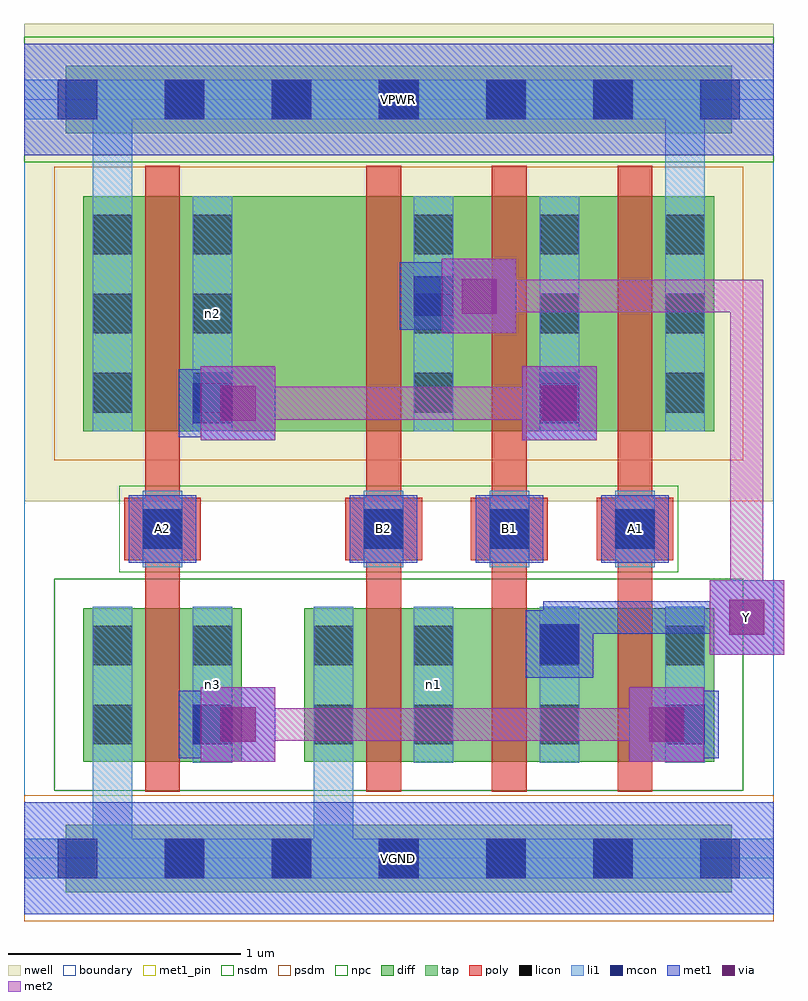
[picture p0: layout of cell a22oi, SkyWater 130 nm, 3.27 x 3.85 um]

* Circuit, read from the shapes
.subckt a22oi A1 A2 B1 B2 VGND VPWR Y n1 n2 n3
XM1 n3 A2 VGND VGND sky130_fd_pr__nfet_01v8 w=0.66 l=0.15
XM2 n1 B2 VGND VGND sky130_fd_pr__nfet_01v8 w=0.66 l=0.15
XM3 Y B1 n1 VGND sky130_fd_pr__nfet_01v8 w=0.66 l=0.15
XM4 n3 A1 Y VGND sky130_fd_pr__nfet_01v8 w=0.66 l=0.15
XM5 n2 A2 VPWR VPWR sky130_fd_pr__pfet_01v8 w=1.01 l=0.15
XM6 Y B2 n2 VPWR sky130_fd_pr__pfet_01v8 w=1.01 l=0.15
XM7 n2 B1 Y VPWR sky130_fd_pr__pfet_01v8 w=1.01 l=0.15
XM8 VPWR A1 n2 VPWR sky130_fd_pr__pfet_01v8 w=1.01 l=0.15
.ends

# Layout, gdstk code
import gdstk
lib = gdstk.Library(unit=1e-6, precision=1e-09)
def R(c, l, rs):  # rectangles x0, y0, x1, y1
    for r in rs: c.add(gdstk.rectangle(r[:2], r[2:], *l))
def A(c, l, x, y, w, h, nx, ny, dx, dy):  # array of equal rectangles
    R(c, l, [(x+i*dx, y+j*dy, x+i*dx+w, y+j*dy+h) for i in range(nx) for j in range(ny)])
nwell = (64, 20)
diff = (65, 20)
tap = (65, 44)
poly = (66, 20)
licon = (66, 44)
li1 = (67, 20)
mcon = (67, 44)
met1_pin = (68, 16)
met1 = (68, 20)
via = (68, 44)
met2 = (69, 20)
nsdm = (93, 44)
psdm = (94, 20)
npc = (95, 20)
boundary = (235, 4)

a22oi = lib.new_cell('a22oi')
R(a22oi, nwell, [(0,1.535,3.22,3.585)])
R(a22oi, diff, [(0.255,0.415,0.935,1.075), (1.205,0.415,2.965,1.075), (0.255,1.835,2.965,2.845)])
R(a22oi, tap, [(0.18,-0.145,3.04,0.145), (0.18,3.115,3.04,3.405)])
A(a22oi, poly, 1.47, 0.285, 0.15, 2.69, 3, 1, 0.54, 0)
A(a22oi, poly, 1.38, 1.28, 0.33, 0.27, 3, 1, 0.54, 0)
R(a22oi, poly, [(0.52,0.285,0.67,2.975), (0.43,1.28,0.76,1.55)])
A(a22oi, licon, 0.605, -0.085, 0.17, 0.17, 5, 2, 0.46, 3.26)
A(a22oi, licon, 1.675, 0.49, 0.17, 0.17, 3, 2, 0.54, 0.34)
A(a22oi, licon, 1.46, 1.33, 0.17, 0.17, 3, 1, 0.54, 0)
A(a22oi, licon, 0.295, 1.915, 0.17, 0.17, 1, 3, 0, 0.34)
A(a22oi, licon, 0.725, 1.915, 0.17, 0.17, 1, 3, 0, 0.34)
A(a22oi, licon, 1.675, 1.915, 0.17, 0.17, 3, 3, 0.54, 0.34)
R(a22oi, licon, [(0.295,0.49,0.465,0.66), (0.725,0.49,0.895,0.66), (1.245,0.49,1.415,0.66), (0.295,0.83,0.465,1), (0.725,0.83,0.895,1), (1.245,0.83,1.415,1), (0.51,1.33,0.68,1.5)])
A(a22oi, li1, 1.675, 0.41, 0.17, 0.67, 3, 1, 0.54, 0)
A(a22oi, li1, 1.46, 1.25, 0.17, 0.33, 3, 1, 0.54, 0)
A(a22oi, li1, 1.675, 1.835, 0.17, 1.01, 3, 1, 0.54, 0)
R(a22oi, li1, [(0,-0.085,3.22,0.085), (0.295,-0.085,0.465,1.08), (1.245,-0.085,1.415,1.08), (0.295,0.41,0.465,1.08), (0.725,0.41,0.895,1.08), (1.245,0.41,1.415,1.08), (0.51,1.25,0.68,1.58), (0.295,1.835,0.465,2.845), (0.295,1.835,0.465,3.345), (0.725,1.835,0.895,2.845), (2.755,1.835,2.925,3.345), (0,3.175,3.22,3.345)])
A(a22oi, mcon, 0.145, -0.085, 0.17, 0.17, 7, 2, 0.46, 3.26)
A(a22oi, mcon, 1.46, 1.33, 0.17, 0.17, 3, 1, 0.54, 0)
R(a22oi, mcon, [(0.725,0.49,0.895,0.66), (2.755,0.49,2.925,0.66), (2.215,0.835,2.385,1.005), (0.51,1.33,0.68,1.5), (0.725,1.87,0.895,2.04), (2.215,1.87,2.385,2.04), (1.675,2.33,1.845,2.5)])
A(a22oi, met1_pin, 1.4, 1.27, 0.29, 0.29, 3, 1, 0.54, 0)
R(a22oi, met1_pin, [(0,-0.24,3.22,0.24), (2.945,0.875,3.265,1.195), (0.45,1.27,0.74,1.56), (0,3.02,3.22,3.5)])
A(a22oi, met1, 1.4, 1.27, 0.29, 0.29, 3, 1, 0.54, 0)
R(a22oi, met1, [(0,-0.24,3.22,0.24), (0.76,0.415,1.08,0.735), (2.6,0.415,2.92,0.735), (0.665,0.43,0.955,0.72), (2.695,0.43,2.985,0.72), (0.74,0.505,0.99,0.645), (2.69,0.505,2.91,0.645), (2.155,0.775,2.445,1.065), (2.23,0.85,2.37,1.105), (2.945,0.875,3.265,1.195), (2.23,0.965,3.175,1.105), (0.45,1.27,0.74,1.56), (0.76,1.795,1.08,2.115), (2.14,1.795,2.46,2.115), (0.665,1.81,0.955,2.1), (2.155,1.81,2.445,2.1), (0.74,1.885,0.99,2.025), (1.795,2.255,2.115,2.575), (1.615,2.27,1.905,2.56), (1.69,2.345,2.025,2.485), (0,3.02,3.22,3.5)])
R(a22oi, via, [(0.845,0.5,0.995,0.65), (2.685,0.5,2.835,0.65), (3.03,0.96,3.18,1.11), (0.845,1.88,0.995,2.03), (2.225,1.88,2.375,2.03), (1.88,2.34,2.03,2.49)])
R(a22oi, met2, [(0.76,0.415,1.08,0.735), (2.6,0.415,2.92,0.735), (0.85,0.505,2.83,0.645), (2.945,0.875,3.265,1.195), (3.035,0.965,3.175,2.485), (0.76,1.795,1.08,2.115), (2.14,1.795,2.46,2.115), (0.85,1.885,2.37,2.025), (1.795,2.255,2.115,2.575), (1.885,2.345,3.175,2.485)])
R(a22oi, nsdm, [(0.13,0.29,3.09,1.2), (0,2.99,3.22,3.53)])
R(a22oi, psdm, [(0,-0.27,3.22,0.27), (0.13,1.71,3.09,2.97)])
R(a22oi, npc, [(0.41,1.23,2.81,1.6)])
R(a22oi, boundary, [(0,0,3.22,3.26)])
a22oi.add(gdstk.Label('n2', (0.81,2.34), layer=67, texttype=5))
a22oi.add(gdstk.Label('n3', (0.81,0.745), layer=67, texttype=5))
a22oi.add(gdstk.Label('n1', (1.76,0.745), layer=67, texttype=5))
a22oi.add(gdstk.Label('A1', (2.625,1.415), layer=68, texttype=5))
a22oi.add(gdstk.Label('A2', (0.595,1.415), layer=68, texttype=5))
a22oi.add(gdstk.Label('B1', (2.085,1.415), layer=68, texttype=5))
a22oi.add(gdstk.Label('B2', (1.545,1.415), layer=68, texttype=5))
a22oi.add(gdstk.Label('Y', (3.105,1.035), layer=68, texttype=5))
a22oi.add(gdstk.Label('VPWR', (1.61,3.26), layer=68, texttype=5))
a22oi.add(gdstk.Label('VGND', (1.61,0), layer=68, texttype=5))
a22oi.add(gdstk.Label('A1', (2.625,1.415), layer=68, texttype=16))
a22oi.add(gdstk.Label('A2', (0.595,1.415), layer=68, texttype=16))
a22oi.add(gdstk.Label('B1', (2.085,1.415), layer=68, texttype=16))
a22oi.add(gdstk.Label('B2', (1.545,1.415), layer=68, texttype=16))
a22oi.add(gdstk.Label('Y', (3.105,1.035), layer=68, texttype=16))
a22oi.add(gdstk.Label('VPWR', (1.61,3.26), layer=68, texttype=16))
a22oi.add(gdstk.Label('VGND', (1.61,0), layer=68, texttype=16))

lib.write_gds('a22oi.gds')
